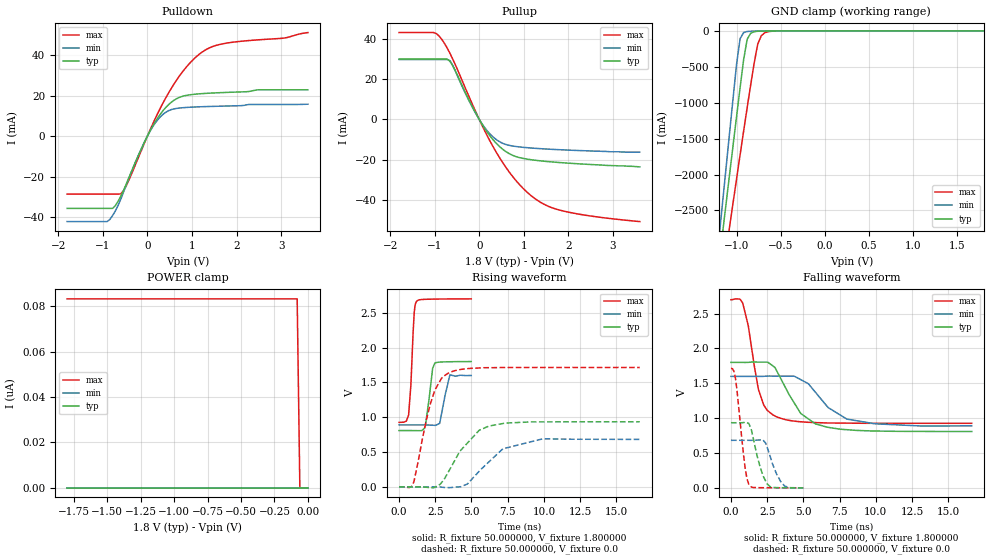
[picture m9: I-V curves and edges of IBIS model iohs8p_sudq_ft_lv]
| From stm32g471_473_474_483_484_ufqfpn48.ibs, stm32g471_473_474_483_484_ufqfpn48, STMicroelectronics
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|   Model iohs8p_sudq_ft_lv
[Model]  iohs8p_sudq_ft_lv
Model_type I/O
Polarity   Non-Inverting
Enable   Active-Low
Vinl =   0.540000V
Vinh =   1.260000V
Vmeas =  0.900000V
Cref =   40.000000pF
Rref =   100.000000M
Vref =   0.0V
C_comp   1.984800pF   1.899400pF   2.077500pF
[Temperature Range]   25.000000   -40.000000   0.125000k
[Pullup Reference]   1.800000V   1.600000V   2.700000V
[Pulldown Reference]   0.0V   0.0V   0.0V
[POWER Clamp Reference]   1.800000V   1.600000V   2.700000V
[GND Clamp Reference]   0.0V   0.0V   0.0V
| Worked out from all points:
|   slope of the pulldown table from 0 to 0.27 V, typ, clamps not added: 26.4 ohm
|   slope of the pullup table from 0 to 0.27 V, typ, clamps not added: 30.1 ohm
|   GND clamp passes 1 mA (typ) near -0.61 V on its own axis
|   rising waveform, R_fixture 50.000000, V_fixture 1.800000: 20-80 % time 358ps typ, 426ps min, 254ps max; typ from 0.809 V to 1.8 V
|   rising waveform, R_fixture 50.000000, V_fixture 0.0: 20-80 % time 1.91ns typ, 2.02ns min, 1.14ns max; typ from 0 V to 0.934 V
|   falling waveform, R_fixture 50.000000, V_fixture 1.800000: 20-80 % time 1.87ns typ, 2.16ns min, 936ps max; typ from 1.8 V to 0.809 V
|   falling waveform, R_fixture 50.000000, V_fixture 0.0: 20-80 % time 698ps typ, 758ps min, 515ps max; typ from 0.934 V to 0 V
[Pulldown]
|Voltage   I(typ)   I(min)   I(max)
-1.8V     -35.64mA   -42.15mA   -28.59mA
-900mV    -35.64mA   -42.15mA   -28.59mA
-780mV    -35.64mA   -39.2mA    -28.59mA
-600mV    -29.83mA   -31.3mA    -28.52mA
-420mV    -20.8mA    -21.07mA   -21.98mA
60mV      2.604mA    2.459mA    3.062mA
240mV     9.303mA    8.31mA     11.61mA
480mV     15.67mA    12.64mA    21.52mA
720mV     19.18mA    13.9mA     29.74mA
960mV     20.46mA    14.3mA     36.27mA
1.44V     21.29mA    14.7mA     44.06mA
3.6V      22.91mA    15.79mA    51.15mA
[Pullup]
|Voltage   I(typ)   I(min)   I(max)
-1.8V     29.96mA    29.75mA    43.09mA
-1.02V    29.96mA    29.75mA    43.09mA
-900mV    29.96mA    29.75mA    41.34mA
-660mV    28.86mA    29.2mA     32.89mA
-60mV     2.392mA    2.26mA     2.893mA
300mV     -9.801mA   -8.48mA    -13.12mA
480mV     -13.91mA   -11.33mA   -19.82mA
720mV     -17.48mA   -13.04mA   -27.46mA
1.2V      -20.05mA   -14.2mA    -38.43mA
1.5V      -20.78mA   -14.63mA   -42.54mA
1.92V     -21.53mA   -15.1mA    -45.56mA
3.6V      -23.5mA    -16.2mA    -50.6mA
[GND_clamp]
|Voltage   I(typ)   I(min)   I(max)
-1.8V     -9.477A    -9.805A    -9.016A
-1.2V     -3.243A    -2.9A      -3.759A
-1.16V    -2.83A     -2.409A    -3.417A
-1.12V    -2.418A    -1.919A    -3.076A
-1.08V    -2.008A    -1.431A    -2.736A
-1V       -1.194A    -466mA     -2.061A
-960mV    -792.8mA   -108.7mA   -1.727A
-920mV    -402mA     -24.35mA   -1.396A
-880mV    -117.8mA   -9.188mA   -1.071A
-760mV    -5.896mA   -2.88mA    -183.8mA
-680mV    -2.395mA   -1.099mA   -26.61mA
1.8V      0A         0A         0A
[POWER_clamp]
|Voltage   I(typ)   I(min)   I(max)
-1.8V     0A         0A         83.17nA
-80mV     0A         0A         83.17nA
-60mV     0A         0A         0A
0V        0A         0A         0A
[Ramp]
| variable   typ   min   max
dV/dt_r  0.56076/1.91122n   0.40874/2.01801n   1.02762/1.14365n
dV/dt_f  0.59473/1.87083n   0.42453/2.14751n   1.06394/0.93490n
R_load = 50.000000
[Rising Waveform]
R_fixture= 50.000000
V_fixture= 1.800000
V_fixture_min= 1.600000
V_fixture_max= 2.700000
|time   V(typ)   V(min)   V(max)
0s        808.8mV    889.5mV    926.5mV
660.7ps   808.8mV    889.6mV    1.03V
820.8ps   808.7mV    889.6mV    1.473V
1.051ns   808.4mV    889.6mV    2.51V
1.211ns   807.3mV    889.6mV    2.664V
1.802ns   852.4mV    889mV      2.693V
2.472ns   1.777V     883.6mV    2.697V
2.813ns   1.792V     918.3mV    2.698V
3.514ns   1.797V     1.609V     2.699V
4.985ns   1.8V       1.6V       2.7V
[Rising Waveform]
R_fixture= 50.000000
V_fixture= 0.0
V_fixture_min= 0.0
V_fixture_max= 0.0
|time   V(typ)   V(min)   V(max)
0s        60.17nV    530.3nV    51.33uV
1.001ns   18.19uV    -740.2nV   61.4mV
2.135ns   -11.66mV   63.3uV     1.173V
2.936ns   61.5mV     -4.204mV   1.561V
3.403ns   213.8mV    -10.31mV   1.633V
4.705ns   625.7mV    39.87mV    1.697V
6.206ns   873.3mV    359.3mV    1.712V
7.174ns   909.9mV    547.2mV    1.714V
9.943ns   933.5mV    690.5mV    1.715V
16.62ns   934.4mV    682.2mV    1.715V
[Falling Waveform]
R_fixture= 50.000000
V_fixture= 1.800000
V_fixture_min= 1.600000
V_fixture_max= 2.700000
|time   V(typ)   V(min)   V(max)
0s        1.8V       1.6V       2.7V
800.8ps   1.8V       1.6V       2.656V
1.201ns   1.801V     1.6V       2.32V
1.902ns   1.805V     1.6V       1.41V
2.269ns   1.804V     1.601V     1.187V
3.136ns   1.688V     1.603V     1.021V
4.805ns   1.071V     1.554V     948.5mV
5.839ns   917.5mV    1.37V      936.8mV
8.008ns   834.4mV    986.4mV    928.6mV
16.62ns   808.8mV    889.5mV    926.5mV
[Falling Waveform]
R_fixture= 50.000000
V_fixture= 0.0
V_fixture_min= 0.0
V_fixture_max= 0.0
|time   V(typ)   V(min)   V(max)
0s        934.4mV    682.2mV    1.715V
310.3ps   934.4mV    682.2mV    1.573V
981ps     940mV      682.1mV    283.5mV
1.221ns   926.1mV    682mV      57.21mV
1.411ns   830.7mV    681.8mV    12.56mV
2.032ns   284.3mV    687.8mV    2.33mV
2.503ns   56mV       580.2mV    1.45mV
3.143ns   3.664mV    201mV      848.5uV
3.684ns   1.266mV    30.05mV    524.3uV
4.985ns   60.17nV    530.3nV    51.33uV
